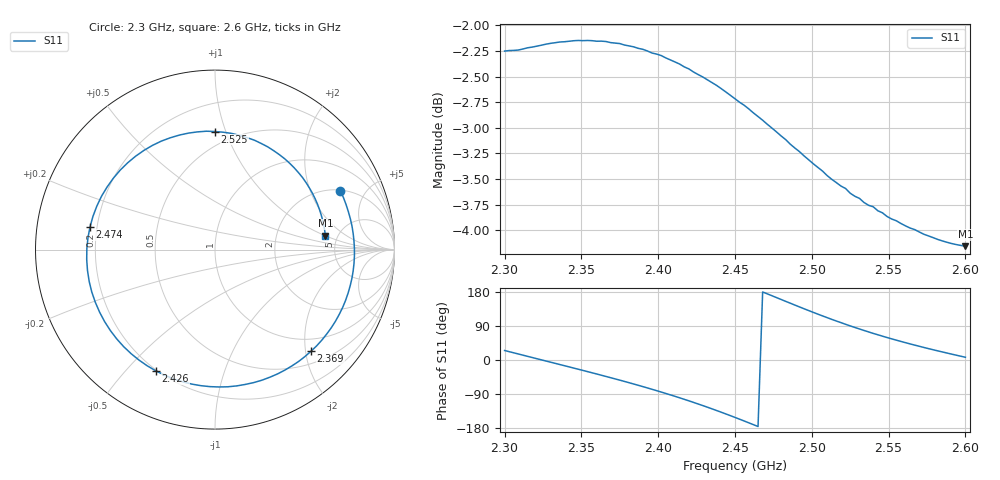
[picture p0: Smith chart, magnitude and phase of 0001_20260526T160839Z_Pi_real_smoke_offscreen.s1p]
# Hz S RI R 50
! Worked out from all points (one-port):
!   101 points, 2.3 GHz to 2.6 GHz, reference 50 ohm
!   lowest |S11| = -4.2 dB at 2.6 GHz (marker M1), VSWR 4.26, Z = 199 + j50.5 ohm
!   |S11| at or under -10 dB: nowhere
!   S11 on the Smith chart (normalised r, x): 2.3 GHz: 2.05, +3.31; 2.369 GHz: 0.73, -2.11; 2.426 GHz: 0.20, -0.61; 2.474 GHz: 0.17, +0.09; 2.525 GHz: 0.40, +0.92; 2.6 GHz: 3.99, +1.01
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2.3e9  0.6989 0.3269
2.312e9  0.7545 0.17
2.321e9  0.7745 0.0462
2.33e9  0.7743 -0.079
2.339e9  0.7528 -0.2031
2.354e9  0.6716 -0.3983
2.369e9  0.5345 -0.5667
2.375e9  0.4667 -0.6227
2.384e9  0.3481 -0.6928
2.396e9  0.1692 -0.7511
2.405e9  0.0217 -0.7654
2.414e9  -0.1297 -0.7493
2.426e9  -0.3299 -0.6753
2.438e9  -0.5092 -0.5403
2.45e9  -0.6429 -0.3486
2.462e9  -0.7103 -0.1167
2.474e9  -0.6963 0.1269
2.48e9  -0.6582 0.2427
2.489e9  -0.5664 0.3977
2.498e9  -0.4426 0.52
2.507e9  -0.2988 0.6046
2.516e9  -0.148 0.649
2.525e9  -8.11e-05 0.6578
2.534e9  0.1359 0.6367
2.546e9  0.2932 0.5728
2.564e9  0.4666 0.4271
2.582e9  0.5701 0.2552
2.6e9  0.6149 0.0779
